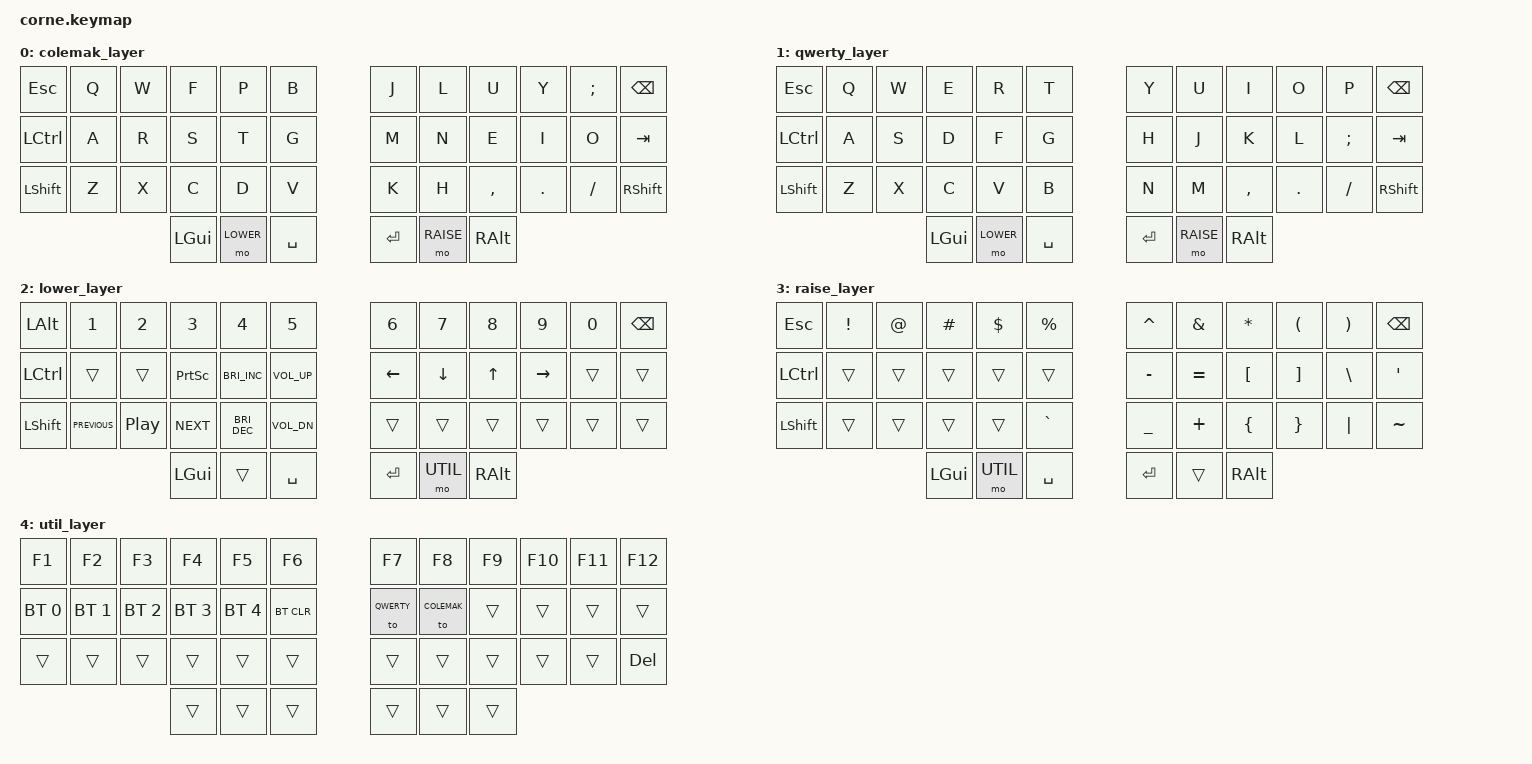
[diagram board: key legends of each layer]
/*
 * Copyright (c) 2020 The ZMK Contributors
 *
 * SPDX-License-Identifier: MIT
 */

#include <behaviors.dtsi>
#include <dt-bindings/zmk/keys.h>
#include <dt-bindings/zmk/bt.h>

#define COLEMAK 0
#define QWERTY 1
#define LOWER 2
#define RAISE 3
#define UTIL 4

/ {
    keymap {
        compatible = "zmk,keymap";

        colemak_layer {
            bindings = <
                &kp ESC   &kp Q &kp W &kp F &kp P &kp B   &kp J &kp L &kp U &kp Y &kp SEMI &kp BSPC
                &kp LCTRL &kp A &kp R &kp S &kp T &kp G   &kp M &kp N &kp E &kp I &kp O &kp TAB
                &kp LSHFT &kp Z &kp X &kp C &kp D &kp V   &kp K &kp H &kp COMMA &kp DOT &kp FSLH &kp RSHIFT
                          &kp LGUI &mo LOWER &kp SPACE   &kp RET &mo RAISE &kp RALT
            >;
        };

        qwerty_layer {
            bindings = <
                &kp ESC   &kp Q &kp W &kp E &kp R &kp T   &kp Y &kp U &kp I &kp O &kp P &kp BSPC
                &kp LCTRL &kp A &kp S &kp D &kp F &kp G   &kp H &kp J &kp K &kp L &kp SEMI &kp TAB
                &kp LSHFT &kp Z &kp X &kp C &kp V &kp B   &kp N &kp M &kp COMMA &kp DOT &kp FSLH &kp RSHIFT
                          &kp LGUI &mo LOWER &kp SPACE   &kp RET &mo RAISE &kp RALT
            >;
        };

        lower_layer {
            bindings = <
                &kp LALT    &kp N1       &kp N2       &kp N3       &kp N4       &kp N5         &kp N6   &kp N7   &kp N8 &kp N9    &kp N0 &kp BSPC
                &kp LCTRL  &trans &trans &kp PRINTSCREEN &kp C_BRIGHTNESS_INC &kp C_VOL_UP   &kp LEFT &kp DOWN &kp UP &kp RIGHT &trans &trans
                &kp LSHIFT  &kp C_PREVIOUS       &kp C_PLAY_PAUSE       &kp C_NEXT       &kp C_BRIGHTNESS_DEC       &kp C_VOL_DN    &trans   &trans   &trans &trans    &trans &trans
                                        &kp LGUI     &trans       &kp SPACE      &kp RET  &mo UTIL   &kp RALT
            >;
        };

        raise_layer {
            bindings = <
                &kp ESC    &kp EXCL    &kp AT     &kp HASH   &kp DLLR   &kp PRCNT   &kp CARET  &kp AMPS   &kp ASTRK  &kp LPAR   &kp RPAR   &kp BSPC
                &kp LCTRL  &trans      &trans     &trans     &trans     &trans      &kp MINUS  &kp EQUAL  &kp LBKT   &kp RBKT   &kp BSLH   &kp SQT
                &kp LSHFT  &trans      &trans     &trans     &trans     &kp GRAVE   &kp UNDER  &kp PLUS   &kp LBRC   &kp RBRC   &kp PIPE   &kp TILDE
                          &kp LGUI    &mo UTIL     &kp SPACE  &kp RET    &trans      &kp RALT
            >;
        };

        util_layer {
            bindings = <
                &kp F1 &kp F2 &kp F3 &kp F4 &kp F5 &kp F6 &kp F7 &kp F8 &kp F9 &kp F10 &kp F11 &kp F12
                &bt BT_SEL 0 &bt BT_SEL 1 &bt BT_SEL 2 &bt BT_SEL 3 &bt BT_SEL 4 &bt BT_CLR   &to QWERTY &to COLEMAK &trans &trans &trans &trans
                &trans &trans &trans &trans &trans &trans   &trans &trans &trans &trans &trans &kp DEL
                          &trans &trans &trans &trans &trans &trans
            >;
        };
    };
};
